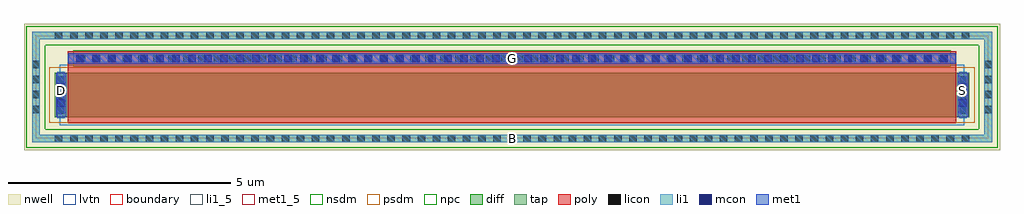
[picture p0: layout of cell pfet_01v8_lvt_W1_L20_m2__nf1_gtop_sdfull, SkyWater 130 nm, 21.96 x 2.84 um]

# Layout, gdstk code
import gdstk
lib = gdstk.Library(unit=1e-6, precision=1e-09)
def R(c, l, rs):  # rectangles x0, y0, x1, y1
    for r in rs: c.add(gdstk.rectangle(r[:2], r[2:], *l))
def A(c, l, x, y, w, h, nx, ny, dx, dy):  # array of equal rectangles
    R(c, l, [(x+i*dx, y+j*dy, x+i*dx+w, y+j*dy+h) for i in range(nx) for j in range(ny)])
nwell = (64, 20)
diff = (65, 20)
tap = (65, 44)
poly = (66, 20)
licon = (66, 44)
li1_5 = (67, 5)
li1 = (67, 20)
mcon = (67, 44)
met1_5 = (68, 5)
met1 = (68, 20)
nsdm = (93, 44)
psdm = (94, 20)
npc = (95, 20)
lvtn = (125, 44)
boundary = (235, 4)

sky130_fd_pr__pfet_01v8_ = lib.new_cell('sky130_fd_pr__pfet_01v8_lvt_TYLD6K')
R(sky130_fd_pr__pfet_01v8_, nwell, [(-10.98,-1.42,10.98,1.42)])
R(sky130_fd_pr__pfet_01v8_, diff, [(-10.29,-0.68,10.29,0.32)])
R(sky130_fd_pr__pfet_01v8_, tap, [(-10.8,-1.24,10.8,-1.07), (-10.8,-1.07,-10.63,1.07), (10.63,-1.07,10.8,1.07), (-10.8,1.07,10.8,1.24)])
R(sky130_fd_pr__pfet_01v8_, poly, [(-10,-0.81,10,0.805)])
A(sky130_fd_pr__pfet_01v8_, licon, -10.285, -1.24, 0.17, 0.17, 61, 2, 0.34, 2.31)
A(sky130_fd_pr__pfet_01v8_, licon, -10.23, -0.605, 0.17, 0.17, 1, 3, 0, 0.34)
A(sky130_fd_pr__pfet_01v8_, licon, 10.06, -0.605, 0.17, 0.17, 1, 3, 0, 0.34)
A(sky130_fd_pr__pfet_01v8_, licon, -10.8, -0.595, 0.17, 0.17, 1, 4, 0, 0.34)
A(sky130_fd_pr__pfet_01v8_, licon, 10.63, -0.595, 0.17, 0.17, 1, 4, 0, 0.34)
A(sky130_fd_pr__pfet_01v8_, licon, -9.775, 0.555, 0.17, 0.17, 58, 1, 0.34, 0)
R(sky130_fd_pr__pfet_01v8_, li1, [(-10.8,-1.24,10.8,-1.07), (-10.8,-1.07,-10.63,1.07), (10.63,-1.07,10.8,1.07), (-10.23,-0.7,-10.06,0.34), (10.06,-0.7,10.23,0.34), (-10,0.555,10,0.725), (-10.8,1.07,10.8,1.24)])
A(sky130_fd_pr__pfet_01v8_, mcon, -9.805, 0.555, 0.17, 0.17, 55, 1, 0.36, 0)
R(sky130_fd_pr__pfet_01v8_, mcon, [(-10.23,-0.445,-10.06,-0.275), (10.06,-0.445,10.23,-0.275), (-10.23,-0.085,-10.06,0.085), (10.06,-0.085,10.23,0.085)])
R(sky130_fd_pr__pfet_01v8_, met1, [(-10.26,-0.68,-10.03,0.32), (10.03,-0.68,10.26,0.32), (-9.98,0.525,9.98,0.755)])
R(sky130_fd_pr__pfet_01v8_, nsdm, [(-10.925,-1.365,10.925,-0.945), (-10.925,-0.945,-10.505,0.945), (10.505,-0.945,10.925,0.945), (-10.925,0.945,10.925,1.365)])
R(sky130_fd_pr__pfet_01v8_, psdm, [(-10.415,-0.805,10.415,0.445)])
R(sky130_fd_pr__pfet_01v8_, npc, [(-9.875,0.455,9.875,0.825)])
R(sky130_fd_pr__pfet_01v8_, lvtn, [(-10.18,-0.86,10.18,0.5)])
R(sky130_fd_pr__pfet_01v8_, boundary, [(-10.715,-1.155,10.715,1.155)])
sky130_fd_pr__pfet_01v8_.add(gdstk.Label('B', (0,-1.155), layer=67, texttype=5))
sky130_fd_pr__pfet_01v8_.add(gdstk.Label('D', (-10.145,-0.18), layer=67, texttype=5))
sky130_fd_pr__pfet_01v8_.add(gdstk.Label('S', (10.145,-0.18), layer=67, texttype=5))
sky130_fd_pr__pfet_01v8_.add(gdstk.Label('G', (0,0.64), layer=67, texttype=5))

pfet_01v8_lvt_w1_l20_m2_ = lib.new_cell('pfet_01v8_lvt_W1_L20_m2__nf1_gtop_sdfull')
R(pfet_01v8_lvt_w1_l20_m2_, li1_5, [(10.63,-0.085,10.8,0.085)])
R(pfet_01v8_lvt_w1_l20_m2_, li1, [(10.63,-0.085,10.8,0.085)])
R(pfet_01v8_lvt_w1_l20_m2_, met1_5, [(0.455,0.975,0.685,1.175), (20.745,0.975,20.975,1.175), (0.735,1.68,20.695,1.91)])
R(pfet_01v8_lvt_w1_l20_m2_, met1, [(0.455,0.975,0.685,1.175), (20.745,0.975,20.975,1.175), (0.735,1.68,20.695,1.91)])
pfet_01v8_lvt_w1_l20_m2_.add(gdstk.Reference(sky130_fd_pr__pfet_01v8_, (10.715,1.155)))
pfet_01v8_lvt_w1_l20_m2_.add(gdstk.Label('D', (0.57,1.075), layer=68, texttype=5))
pfet_01v8_lvt_w1_l20_m2_.add(gdstk.Label('S', (20.86,1.075), layer=68, texttype=5))
pfet_01v8_lvt_w1_l20_m2_.add(gdstk.Label('G', (10.715,1.795), layer=68, texttype=5))
pfet_01v8_lvt_w1_l20_m2_.add(gdstk.Label('B', (10.715,0), layer=67, texttype=5))

lib.write_gds('pfet_01v8_lvt_W1_L20_m2__nf1_gtop_sdfull.gds')
